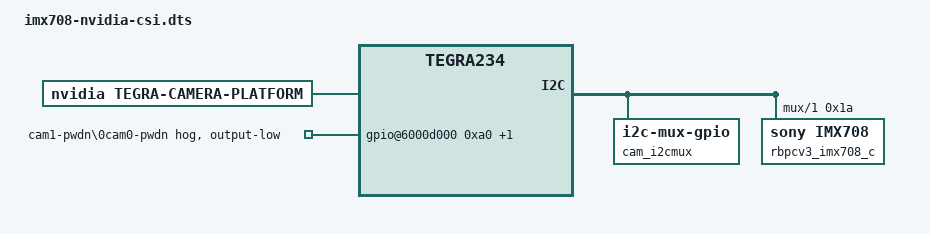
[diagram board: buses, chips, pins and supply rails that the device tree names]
/dts-v1/;

/ {
	overlay-name = "Camera IMX708 (NVIDIA CSI)";
	jetson-header-name = "Jetson 24pin CSI Connector";
	compatible = "nvidia,p3768-0000+p3767-0000\0nvidia,p3768-0000+p3767-0005\0nvidia,tegra234";

	fragment@0 {
		target-path = "/";

		__overlay__ {
			tegra-capture-vi {
				num-channels = <0x01>;
				ports {
					#address-cells = <0x01>;
					#size-cells = <0x00>;
					port@0 {
						reg = <0x00>;
						endpoint {
							port-index = <0x02>;
							bus-width = <0x02>;
							remote-endpoint = <0x01>;
							phandle = <0x03>;
						};
					};
				};
			};

			tegra-camera-platform {
				compatible = "nvidia, tegra-camera-platform";
				num_csi_lanes = <0x02>;
				max_lane_speed = <0x2625a0>;
				min_bits_per_pixel = <0x0a>;
				vi_peak_byte_per_pixel = <0x02>;
				vi_bw_margin_pct = <0x19>;
				max_pixel_rate = <0x7270e0>;
				isp_peak_byte_per_pixel = <0x05>;
				isp_bw_margin_pct = <0x19>;
				modules {
					module0 {
						badge = "jakku_rear_RBPCV3";
						position = "rear";
						orientation = "1";
						drivernode0 {
							pcl_id = "v4l2_sensor";
							sysfs-device-tree = "/sys/firmware/devicetree/base/bus@0/cam_i2cmux/i2c@1/rbpcv3_imx708_c@1a";
						};
					};
				};
			};

			bus@0 {
				host1x@13e00000 {
					nvcsi@15a00000 {
						num-channels = <0x01>;
						#address-cells = <0x01>;
						#size-cells = <0x00>;
						channel@0 {
							reg = <0x00>;
							ports {
								#address-cells = <0x01>;
								#size-cells = <0x00>;
								port@0 {
									reg = <0x00>;
									endpoint@0 {
										port-index = <0x02>;
										bus-width = <0x02>;
										remote-endpoint = <0x02>;
										phandle = <0x04>;
									};
								};
								port@1 {
									reg = <0x01>;
									endpoint@1 {
										remote-endpoint = <0x03>;
										phandle = <0x01>;
									};
								};
							};
						};
					};
				};

				cam_i2cmux {
					status = "okay";
					compatible = "i2c-mux-gpio";
					#address-cells = <0x01>;
					#size-cells = <0x00>;
					mux-gpios = <0xffffffff 0x13 0x00>;
					i2c-parent = <0xffffffff>;
					i2c@0 {
						rbpcv2_imx219_a@10 {
							status = "disabled";
						};
					};
					i2c@1 {
						status = "okay";
						reg = <0x01>;
						#address-cells = <0x01>;
						#size-cells = <0x00>;
						rbpcv2_imx219_c@10 {
							status = "disabled";
						};
						rbpcv3_imx708_c@1a {
							reset-gpios = <0xffffffff 0xa0 0x00>;
							compatible = "sony,imx708";
							reg = <0x1a>;
							devnode = "video0";
							physical_w = "3.680";
							physical_h = "2.760";
							sensor_model = "imx708";
							use_sensor_mode_id = "true";

							mode0 {
								mclk_khz = "24000";
								num_lanes = "2";
								tegra_sinterface = "serial_c";
								phy_mode = "DPHY";
								discontinuous_clk = "no";
								dpcm_enable = "false";
								cil_settletime = "0";
								lane_polarity = "0";
								active_w = "4608";
								active_h = "2592";
								mode_type = "bayer";
								pixel_phase = "rggb";
								csi_pixel_bit_depth = "10";
								readout_orientation = "90";
								line_length = "4808";
								inherent_gain = "1";
								pix_clk_hz = "297600000";
								gain_factor = "16";
								framerate_factor = "1000000";
								exposure_factor = "1000000";
								min_gain_val = "16";
								max_gain_val = "256";
								step_gain_val = "1";
								default_gain = "16";
								min_hdr_ratio = "1";
								max_hdr_ratio = "1";
								min_framerate = "2000000";
								max_framerate = "14000000";
								step_framerate = "1";
								default_framerate = "14000000";
								min_exp_time = "500";
								max_exp_time = "65487";
								step_exp_time = "1";
								default_exp_time = "1600";
								embedded_metadata_height = "4";
							};

							ports {
								#address-cells = <0x01>;
								#size-cells = <0x00>;
								port@0 {
									reg = <0x00>;
									endpoint {
										port-index = <0x02>;
										bus-width = <0x02>;
										remote-endpoint = <0x04>;
										phandle = <0x02>;
									};
								};
							};
						};
					};
				};

				gpio@6000d000 {
					camera-control-output-low {
						gpio-hog;
						output-low;
						gpios = <0xa0 0x00 0x3e 0x00>;
						label = "cam1-pwdn\0cam0-pwdn";
					};
				};
			};
		};
	};

	__symbols__ {
		imx708_vi_in0 = "/fragment@0/__overlay__/tegra-capture-vi/ports/port@0/endpoint";
		imx708_csi_in0 = "/fragment@0/__overlay__/bus@0/host1x@13e00000/nvcsi@15a00000/channel@0/ports/port@0/endpoint@0";
		imx708_csi_out0 = "/fragment@0/__overlay__/bus@0/host1x@13e00000/nvcsi@15a00000/channel@0/ports/port@1/endpoint@1";
		imx708_out0 = "/fragment@0/__overlay__/bus@0/cam_i2cmux/i2c@1/rbpcv3_imx708_c@1a/ports/port@0/endpoint";
	};

	__fixups__ {
		gpio_aon = "/fragment@0/__overlay__/bus@0/cam_i2cmux:mux-gpios:0";
		cam_i2c = "/fragment@0/__overlay__/bus@0/cam_i2cmux:i2c-parent:0";
		gpio = "/fragment@0/__overlay__/bus@0/cam_i2cmux/i2c@1/rbpcv3_imx708_c@1a:reset-gpios:0";
	};

	__local_fixups__ {
		fragment@0 {
			__overlay__ {
				tegra-capture-vi {
					ports {
						port@0 {
							endpoint {
								remote-endpoint = <0x00>;
							};
						};
					};
				};
				bus@0 {
					host1x@13e00000 {
						nvcsi@15a00000 {
							channel@0 {
								ports {
									port@0 {
										endpoint@0 {
											remote-endpoint = <0x00>;
										};
									};
									port@1 {
										endpoint@1 {
											remote-endpoint = <0x00>;
										};
									};
								};
							};
						};
					};
					cam_i2cmux {
						i2c@1 {
							rbpcv3_imx708_c@1a {
								ports {
									port@0 {
										endpoint {
											remote-endpoint = <0x00>;
										};
									};
								};
							};
						};
					};
				};
			};
		};
	};
};
